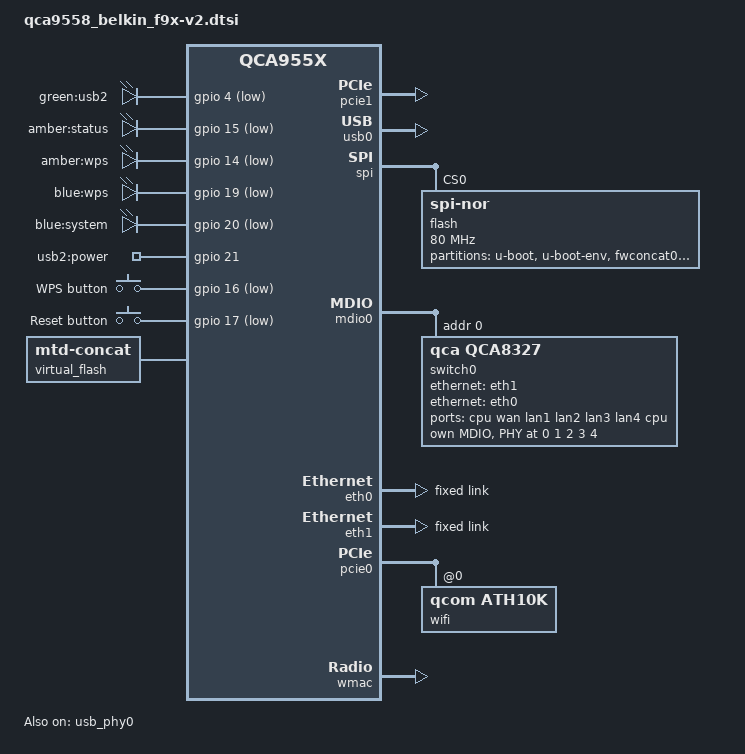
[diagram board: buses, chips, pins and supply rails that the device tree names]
// SPDX-License-Identifier: GPL-2.0-or-later OR MIT

#include "qca955x.dtsi"

#include <dt-bindings/gpio/gpio.h>
#include <dt-bindings/input/input.h>
#include <dt-bindings/mtd/partitions/uimage.h>

/ {
	aliases {
		led-boot = &led_system;
		led-failsafe = &led_system;
		led-running = &led_system;
		led-upgrade = &led_system;
		label-mac-device = &eth1;
	};

	leds {
		compatible = "gpio-leds";

		usb {
			label = "green:usb2";
			gpios = <&gpio 4 GPIO_ACTIVE_LOW>;
			trigger-sources = <&hub_port0>;
			linux,default-trigger = "usbport";
		};

		status {
			label = "amber:status";
			gpios = <&gpio 15 GPIO_ACTIVE_LOW>;
		};

		wps-amber {
			label = "amber:wps";
			gpios = <&gpio 14 GPIO_ACTIVE_LOW>;
		};

		wps-blue {
			label = "blue:wps";
			gpios = <&gpio 19 GPIO_ACTIVE_LOW>;
		};

		led_system: system {
			label = "blue:system";
			gpios = <&gpio 20 GPIO_ACTIVE_LOW>;
		};
	};

	gpio-export {
		compatible = "gpio-export";
		#size-cells = <0>;

		usb2_power {
			gpio-export,name = "usb2:power";
			gpio-export,output = <1>;
			gpios = <&gpio 21 GPIO_ACTIVE_HIGH>;
		};
	};

	keys {
		compatible = "gpio-keys";

		wps {
			label = "WPS button";
			linux,code = <KEY_WPS_BUTTON>;
			gpios = <&gpio 16 GPIO_ACTIVE_LOW>;
			debounce-interval = <60>;
		};

		reset {
			label = "Reset button";
			linux,code = <KEY_RESTART>;
			gpios = <&gpio 17 GPIO_ACTIVE_LOW>;
			debounce-interval = <60>;
		};
	};

	virtual_flash {
		compatible = "mtd-concat";

		devices = <&fwconcat0 &fwconcat1>;

		partitions {
			compatible = "fixed-partitions";
			#address-cells = <1>;
			#size-cells = <1>;

			partition@0 {
				compatible = "openwrt,uimage", "denx,uimage";
				openwrt,ih-magic = <IH_MAGIC_OKLI>;
				label = "firmware";
				reg = <0x0 0x0>;
			};
		};
	};
};

&pcie1 {
	status = "okay";
};

&usb_phy0 {
	status = "okay";
};

&usb0 {
	#address-cells = <1>;
	#size-cells = <0>;
	status = "okay";

	hub_port0: port@1 {
		reg = <1>;
		#trigger-source-cells = <0>;
	};
};

&spi {
	status = "okay";

	flash@0 {
		compatible = "jedec,spi-nor";
		reg = <0>;
		spi-max-frequency = <80000000>;
		m25p,fast-read;

		partitions {
			compatible = "fixed-partitions";
			#address-cells = <1>;
			#size-cells = <1>;

			uboot: partition@0 {
				label = "u-boot";
				reg = <0x000000 0x040000>;
				read-only;
			};

			partition@40000 {
				label = "u-boot-env";
				reg = <0x040000 0x010000>;
			};

			fwconcat0: partition@50000 {
				label = "fwconcat0";
				reg = <0x050000 0xe20000>;
			};

			partition@e70000 {
				label = "loader";
				reg = <0xe70000 0x10000>;
				read-only;
			};

			fwconcat1: partition@e80000 {
				label = "fwconcat1";
				reg = <0xe80000 0x170000>;
			};

			art: partition@ff0000 {
				label = "art";
				reg = <0xff0000 0x010000>;
			};
		};
	};
};

&mdio0 {
	status = "okay";

	switch0@10 {
		compatible = "qca,qca8327";
		#address-cells = <1>;
		#size-cells = <0>;

		reg = <0>;

		ports {
			#address-cells = <1>;
			#size-cells = <0>;

			port@0 {
				reg = <0>;
				label = "cpu";
				ethernet = <&eth1>;
				phy-mode = "sgmii";
				qca,sgmii-rxclk-falling-edge;

				fixed-link {
					speed = <1000>;
					full-duplex;
				};
			};

			port@1 {
				reg = <1>;
				label = "wan";
				phy-mode = "internal";
				phy-handle = <&phy_port1>;
			};

			port@2 {
				reg = <2>;
				label = "lan1";
				phy-mode = "internal";
				phy-handle = <&phy_port2>;
			};

			port@3 {
				reg = <3>;
				label = "lan2";
				phy-mode = "internal";
				phy-handle = <&phy_port3>;
			};

			port@4 {
				reg = <4>;
				label = "lan3";
				phy-mode = "internal";
				phy-handle = <&phy_port4>;
			};

			port@5 {
				reg = <5>;
				label = "lan4";
				phy-mode = "internal";
				phy-handle = <&phy_port5>;
			};

			port@6 {
				reg = <6>;
				label = "cpu";
				ethernet = <&eth0>;
				phy-mode = "rgmii-id";

				fixed-link {
					speed = <1000>;
					full-duplex;
				};
			};
		};

		mdio {
			#address-cells = <1>;
			#size-cells = <0>;

			phy_port1: phy@0 {
				reg = <0>;
			};

			phy_port2: phy@1 {
				reg = <1>;
			};

			phy_port3: phy@2 {
				reg = <2>;
			};

			phy_port4: phy@3 {
				reg = <3>;
			};

			phy_port5: phy@4 {
				reg = <4>;
			};
		};
	};
};

&eth0 {
	status = "okay";

	nvmem-cells = <&macaddr_art_0>;
	nvmem-cell-names = "mac-address";
	pll-data = <0xa6000000 0x00000101 0x00001616>;

	fixed-link {
		speed = <1000>;
		full-duplex;
	};

	gmac-config {
		device = <&gmac>;
		rgmii-enabled = <1>;
	};
};

&eth1 {
	status = "okay";

	nvmem-cells = <&macaddr_art_0>;
	nvmem-cell-names = "mac-address";
	mac-address-increment = <(-1)>;
	pll-data = <0x03000101 0x00000101 0x00001616>;

	fixed-link {
		speed = <1000>;
		full-duplex;
	};
};

&pcie0 {
	status = "okay";

	wifi@0,0 {
		compatible = "qcom,ath10k";
		reg = <0 0 0 0 0>;
	};
};

&wmac {
	status = "okay";

	mtd-cal-data = <&art 0x1000>;
};

&art {
	compatible = "nvmem-cells";
	#address-cells = <1>;
	#size-cells = <1>;

	macaddr_art_0: macaddr@0 {
		reg = <0x0 0x6>;
	};
};
